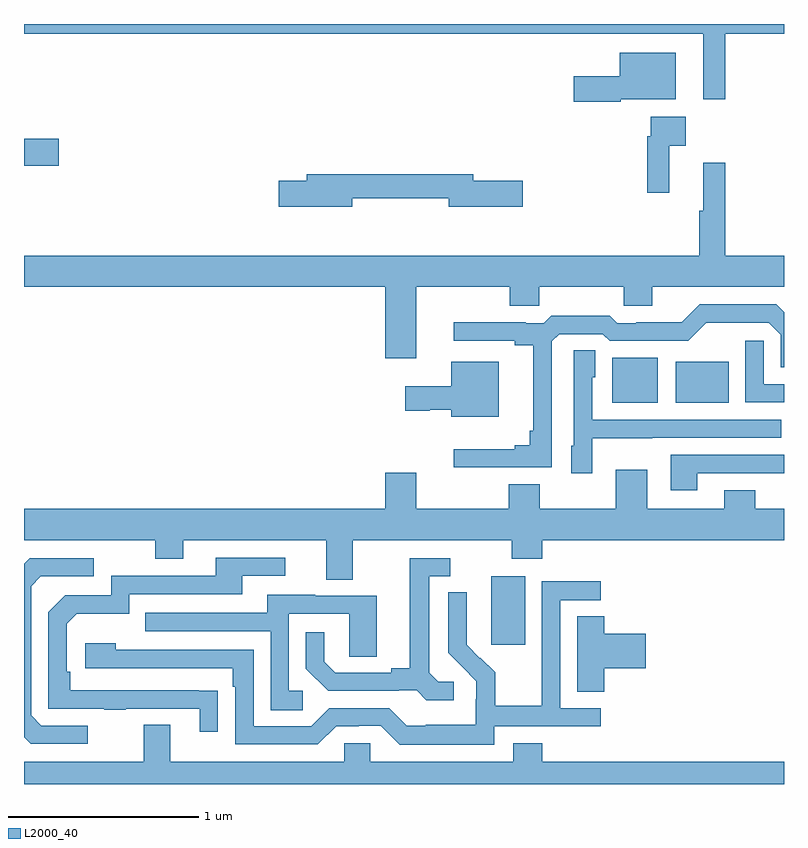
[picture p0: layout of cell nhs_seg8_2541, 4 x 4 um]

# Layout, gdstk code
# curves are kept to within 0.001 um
import gdstk
lib = gdstk.Library(unit=1e-6, precision=1e-09)
def R(c, l, rs):  # rectangles x0, y0, x1, y1
    for r in rs: c.add(gdstk.rectangle(r[:2], r[2:], *l))
def P(c, l, *ps):  # polygons
    for p in ps: c.add(gdstk.Polygon(p, *l))
L2000_40 = (2000, 40)

nhs_seg8_2541 = lib.new_cell('nhs_seg8_2541')
R(nhs_seg8_2541, L2000_40, [(273.458,1098.633,273.637,1098.994), (274.097,1099.907,274.336,1100.143), (274.43,1099.907,274.708,1100.122), (271,1101.154,271.183,1101.296)])
P(nhs_seg8_2541, L2000_40, [(274.691,1101.848),(275,1101.848),(275,1101.9),(271,1101.9),(271,1101.848),(274.574,1101.848),(274.574,1101.504),(274.691,1101.504)],
  [(274.14,1101.503),(274.429,1101.503),(274.429,1101.748),(274.136,1101.748),(274.136,1101.625),(273.894,1101.625),(273.894,1101.491),(274.14,1101.491)],
  [(274.397,1101.26),(274.483,1101.26),(274.483,1101.412),(274.299,1101.412),(274.299,1101.308),(274.279,1101.308),(274.279,1101.012),(274.397,1101.012)],
  [(275,1100.68),(274.691,1100.68),(274.691,1101.169),(274.574,1101.169),(274.574,1100.916),(274.555,1100.916),(274.555,1100.68),(271,1100.68),(271,1100.516),(272.9,1100.516),(272.9,1100.142),(273.064,1100.142),(273.064,1100.516),(273.556,1100.516),(273.556,1100.418),(273.711,1100.418),(273.711,1100.516),(274.156,1100.516),(274.156,1100.418),(274.306,1100.418),(274.306,1100.516),(275,1100.516)],
  [(272.728,1100.982),(273.236,1100.982),(273.236,1100.939),(273.625,1100.939),(273.625,1101.074),(273.364,1101.074),(273.364,1101.11),(272.489,1101.11),(272.489,1101.074),(272.34,1101.074),(272.34,1100.939),(272.728,1100.939)],
  [(273.777,1100.229),(273.816,1100.268),(274.047,1100.268),(274.083,1100.232),(274.497,1100.232),(274.592,1100.327),(274.92,1100.328),(274.983,1100.265),(274.983,1100.094),(275,1100.094),(275,1100.384),(274.96,1100.424),(274.557,1100.424),(274.463,1100.33),(274.222,1100.33),(274.222,1100.325),(274.122,1100.325),(274.083,1100.365),(273.775,1100.365),(273.735,1100.325),(273.641,1100.325),(273.641,1100.33),(273.261,1100.33),(273.261,1100.232),(273.584,1100.232),(273.584,1100.21),(273.68,1100.21),(273.68,1099.759),(273.661,1099.759),(273.661,1099.682),(273.584,1099.682),(273.584,1099.663),(273.261,1099.663),(273.261,1099.566),(273.777,1099.566)],
  [(275,1100.004),(274.893,1100.004),(274.893,1100.233),(274.797,1100.233),(274.797,1099.908),(275,1099.908)],
  [(273.99,1099.721),(274.307,1099.721),(274.307,1099.722),(274.985,1099.722),(274.985,1099.818),(273.99,1099.818),(273.99,1100.04),(274.006,1100.04),(274.006,1100.183),(273.894,1100.183),(273.894,1099.68),(273.881,1099.68),(273.881,1099.536),(273.99,1099.536)],
  [(273.499,1100.122),(273.248,1100.122),(273.248,1099.993),(273.006,1099.993),(273.006,1099.864),(273.135,1099.864),(273.135,1099.871),(273.248,1099.871),(273.248,1099.832),(273.499,1099.832)],
  [(274.543,1099.536),(274.973,1099.536),(274.973,1099.535),(275,1099.535),(275,1099.632),(274.403,1099.632),(274.403,1099.446),(274.543,1099.446)],
  [(272.731,1099.184),(273.568,1099.184),(273.568,1099.085),(273.728,1099.085),(273.728,1099.184),(275,1099.184),(275,1099.348),(274.849,1099.348),(274.849,1099.447),(274.685,1099.447),(274.685,1099.348),(274.279,1099.348),(274.279,1099.555),(274.115,1099.555),(274.115,1099.348),(273.715,1099.348),(273.715,1099.477),(273.551,1099.477),(273.551,1099.348),(273.064,1099.348),(273.064,1099.537),(272.9,1099.537),(272.9,1099.348),(271,1099.348),(271,1099.184),(271.69,1099.184),(271.69,1099.085),(271.837,1099.085),(271.837,1099.184),(272.591,1099.184),(272.591,1098.976),(272.731,1098.976)],
  [(272.021,1098.392),(271.244,1098.393),(271.244,1098.49),(271.224,1098.49),(271.224,1098.744),(271.277,1098.797),(271.554,1098.797),(271.554,1098.9),(272.149,1098.9),(272.149,1098.996),(272.374,1098.996),(272.374,1099.092),(272.009,1099.092),(272.009,1098.996),(271.458,1098.996),(271.458,1098.894),(271.218,1098.894),(271.128,1098.804),(271.128,1098.297),(271.423,1098.297),(271.423,1098.292),(271.535,1098.292),(271.535,1098.297),(271.925,1098.297),(271.925,1098.174),(272.021,1098.174)],
  [(271.336,1098.207),(271.092,1098.207),(271.038,1098.261),(271.038,1098.942),(271.089,1098.993),(271.366,1098.993),(271.366,1099.089),(271.029,1099.089),(271,1099.06),(271,1098.146),(271.035,1098.111),(271.336,1098.111)],
  [(273.262,1098.438),(273.18,1098.438),(273.133,1098.485),(273.133,1098.993),(273.244,1098.993),(273.244,1099.089),(273.029,1099.089),(273.029,1098.509),(272.933,1098.509),(272.933,1098.486),(272.638,1098.486),(272.581,1098.543),(272.581,1098.7),(272.484,1098.7),(272.484,1098.506),(272.6,1098.39),(272.972,1098.39),(272.972,1098.393),(273.066,1098.393),(273.118,1098.341),(273.262,1098.341)],
  [(273.474,1098.204),(274.036,1098.204),(274.036,1098.3),(273.822,1098.3),(273.822,1098.867),(274.036,1098.867),(274.036,1098.966),(273.726,1098.966),(273.726,1098.536),(273.724,1098.536),(273.724,1098.313),(273.479,1098.313),(273.479,1098.487),(273.402,1098.564),(273.399,1098.561),(273.329,1098.632),(273.33,1098.908),(273.234,1098.908),(273.234,1098.59),(273.38,1098.442),(273.38,1098.345),(273.378,1098.345),(273.378,1098.211),(273.115,1098.211),(273.115,1098.207),(273.015,1098.207),(272.922,1098.3),(272.607,1098.3),(272.511,1098.204),(272.208,1098.204),(272.208,1098.606),(271.484,1098.606),(271.484,1098.64),(271.323,1098.64),(271.323,1098.51),(272.099,1098.51),(272.099,1098.413),(272.112,1098.413),(272.112,1098.108),(272.547,1098.108),(272.643,1098.204),(272.762,1098.204),(272.762,1098.207),(272.877,1098.207),(272.977,1098.107),(273.474,1098.107)],
  [(272.467,1098.39),(272.394,1098.39),(272.394,1098.795),(272.712,1098.795),(272.712,1098.571),(272.857,1098.571),(272.857,1098.891),(272.533,1098.891),(272.533,1098.895),(272.279,1098.895),(272.279,1098.801),(271.639,1098.801),(271.639,1098.705),(272.298,1098.705),(272.298,1098.289),(272.467,1098.289)],
  [(274.055,1098.509),(274.273,1098.509),(274.273,1098.692),(274.055,1098.692),(274.055,1098.782),(273.911,1098.782),(273.911,1098.385),(274.055,1098.385)],
  [(275,1098.016),(273.728,1098.016),(273.728,1098.115),(273.575,1098.115),(273.575,1098.016),(272.823,1098.016),(272.823,1098.114),(272.685,1098.114),(272.685,1098.016),(271.771,1098.016),(271.771,1098.211),(271.631,1098.211),(271.631,1098.016),(271,1098.016),(271,1097.9),(275,1097.9)])

lib.write_gds('nhs_seg8_2541.gds')
